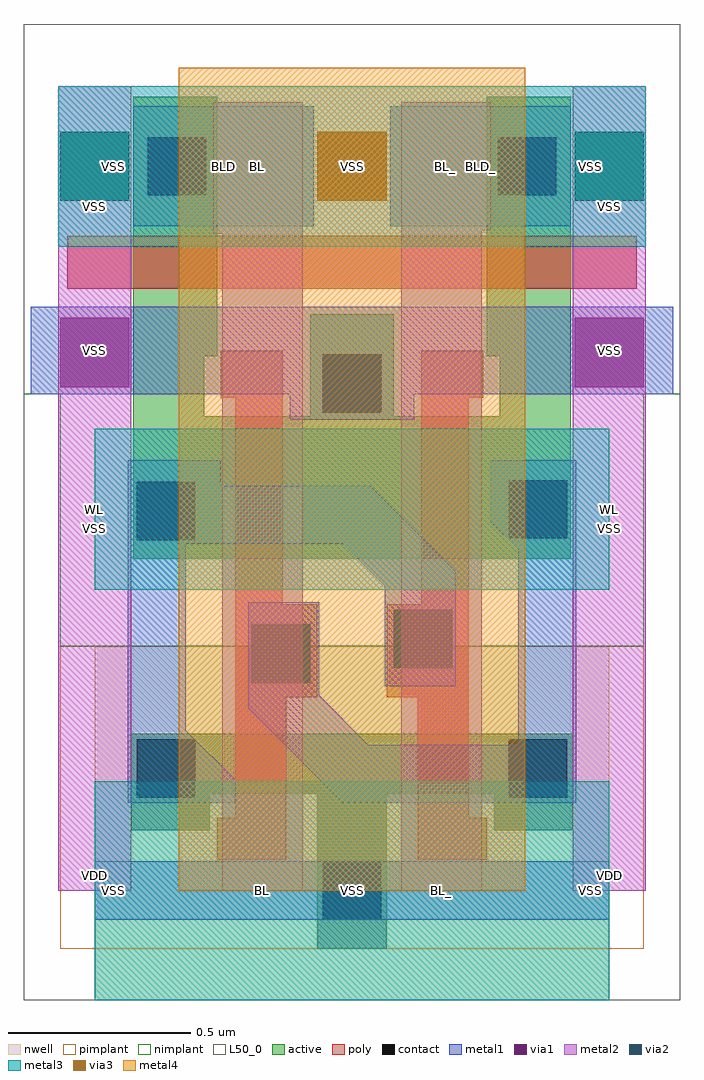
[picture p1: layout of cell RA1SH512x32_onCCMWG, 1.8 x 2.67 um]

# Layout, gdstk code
import gdstk
lib = gdstk.Library(unit=1e-6, precision=1e-09)
def R(c, l, rs):  # rectangles x0, y0, x1, y1
    for r in rs: c.add(gdstk.rectangle(r[:2], r[2:], *l))
def P(c, l, *ps):  # polygons
    for p in ps: c.add(gdstk.Polygon(p, *l))
nwell = (3, 0)
active = (6, 0)
poly = (17, 0)
pimplant = (25, 0)
nimplant = (26, 0)
contact = (30, 0)
metal1 = (31, 0)
metal2 = (32, 0)
metal3 = (33, 0)
metal4 = (34, 0)
L50_0 = (50, 0)
via1 = (51, 0)
via2 = (52, 0)
via3 = (53, 0)

ra1sh512x32_onccmwg = lib.new_cell('RA1SH512x32_onCCMWG')
R(ra1sh512x32_onccmwg, nwell, [(0,-0.3,1.41,0.67)])
P(ra1sh512x32_onccmwg, active, [(1.075,2.175),(1.075,1.465),(1.11,1.465),(1.11,1.3),(0.82,1.3),(0.82,1.58),(0.59,1.58),(0.59,1.3),(0.3,1.3),(0.3,1.465),(0.335,1.465),(0.335,2.175),(0.105,2.175),(0.105,0.91),(1.305,0.91),(1.305,2.175)],
  [(0.1,0.43),(0.1,0.165),(0.315,0.165),(0.315,0.265),(0.61,0.265),(0.61,-0.16),(0.8,-0.16),(0.8,0.265),(1.095,0.265),(1.095,0.165),(1.31,0.165),(1.31,0.43)])
R(ra1sh512x32_onccmwg, poly, [(-0.075,1.65,1.485,1.795)])
P(ra1sh512x32_onccmwg, poly, [(0.895,1.48),(0.895,0.785),(0.8,0.785),(0.8,0.53),(0.885,0.53),(0.885,0.085),(1.075,0.085),(1.075,0.2),(1.025,0.2),(1.025,1.35),(1.065,1.35),(1.065,1.48)],
  [(0.345,1.48),(0.345,1.35),(0.385,1.35),(0.385,0.2),(0.335,0.2),(0.335,0.085),(0.525,0.085),(0.525,0.53),(0.61,0.53),(0.61,0.785),(0.515,0.785),(0.515,1.48)])
R(ra1sh512x32_onccmwg, pimplant, [(-0.095,-0.16,1.505,0.67)])
P(ra1sh512x32_onccmwg, nimplant, [(-0.195,2.375),(-0.195,1.36),(-0.095,1.36),(-0.095,0.67),(1.505,0.67),(1.505,1.36),(1.605,1.36),(1.605,2.375)])
R(ra1sh512x32_onccmwg, contact, [(0.625,-0.08,0.785,0.08), (0.115,0.255,0.275,0.415), (1.135,0.255,1.295,0.415), (0.43,0.57,0.59,0.73), (0.82,0.61,0.98,0.77), (0.115,0.96,0.275,1.12), (1.135,0.965,1.295,1.125), (0.625,1.31,0.785,1.47), (0.145,1.905,0.305,2.065), (1.105,1.905,1.265,2.065)])
R(ra1sh512x32_onccmwg, metal1, [(0,-0.08,1.41,0.08), (0.105,1.82,0.6,2.15), (0.81,1.82,1.305,2.15)])
P(ra1sh512x32_onccmwg, metal1, [(-0.175,1.6),(-0.175,1.36),(0.535,1.36),(0.535,1.29),(0.875,1.29),(0.875,1.36),(1.585,1.36),(1.585,1.6)],
  [(1.085,1.18),(1.085,1.01),(1.16,0.935),(1.16,0.4),(0.75,0.4),(0.615,0.535),(0.615,0.79),(0.42,0.79),(0.42,0.5),(0.68,0.24),(1.32,0.24),(1.32,1.18)],
  [(0.09,1.18),(0.09,0.24),(0.385,0.24),(0.385,0.305),(0.25,0.44),(0.25,0.95),(0.68,0.95),(0.795,0.835),(0.795,0.56),(0.99,0.56),(0.99,0.875),(0.755,1.11),(0.345,1.11),(0.345,1.18)])
R(ra1sh512x32_onccmwg, metal2, [(-0.1,0,0.1,2.205), (1.31,0,1.51,2.205)])
P(ra1sh512x32_onccmwg, metal2, [(0.84,2.16),(0.84,0),(1.06,0),(1.06,1.81),(1.085,1.81),(1.085,2.16)],
  [(0.325,2.16),(0.325,1.8),(0.35,1.8),(0.35,0),(0.57,0),(0.57,2.16)])
R(ra1sh512x32_onccmwg, metal3, [(0,-0.3,1.41,0.3), (0,0.825,1.41,1.265), (-0.1,1.765,1.51,2.205)])
R(ra1sh512x32_onccmwg, metal4, [(0.23,0,1.18,2.255)])
R(ra1sh512x32_onccmwg, L50_0, [(-0.195,-0.3,1.605,2.375)])
R(ra1sh512x32_onccmwg, via1, [(-0.095,1.38,0.095,1.57), (1.315,1.38,1.505,1.57)])
R(ra1sh512x32_onccmwg, via2, [(-0.095,1.89,0.095,2.08), (1.315,1.89,1.505,2.08)])
R(ra1sh512x32_onccmwg, via3, [(0.61,1.89,0.8,2.08)])
ra1sh512x32_onccmwg.add(gdstk.Label('WL', (0,1.045), layer=133, texttype=0))
ra1sh512x32_onccmwg.add(gdstk.Label('VSS', (0,1.875), layer=133, texttype=0))
ra1sh512x32_onccmwg.add(gdstk.Label('VSS', (0,0.992), layer=132, texttype=0))
ra1sh512x32_onccmwg.add(gdstk.Label('VSS', (0,1.48), layer=131, texttype=0))
ra1sh512x32_onccmwg.add(gdstk.Label('VDD', (0,0.04), layer=131, texttype=0))
ra1sh512x32_onccmwg.add(gdstk.Label('WL', (1.41,1.045), layer=133, texttype=0))
ra1sh512x32_onccmwg.add(gdstk.Label('VSS', (1.41,1.875), layer=133, texttype=0))
ra1sh512x32_onccmwg.add(gdstk.Label('VSS', (1.41,0.992), layer=132, texttype=0))
ra1sh512x32_onccmwg.add(gdstk.Label('VSS', (1.41,1.48), layer=131, texttype=0))
ra1sh512x32_onccmwg.add(gdstk.Label('VDD', (1.41,0.04), layer=131, texttype=0))
ra1sh512x32_onccmwg.add(gdstk.Label('BL_', (0.95,0), layer=132, texttype=0))
ra1sh512x32_onccmwg.add(gdstk.Label('BL', (0.46,0), layer=132, texttype=0))
ra1sh512x32_onccmwg.add(gdstk.Label('VSS', (0.705,0), layer=134, texttype=0))
ra1sh512x32_onccmwg.add(gdstk.Label('VSS', (1.36,0), layer=132, texttype=0))
ra1sh512x32_onccmwg.add(gdstk.Label('VSS', (0.05,0), layer=132, texttype=0))
ra1sh512x32_onccmwg.add(gdstk.Label('VDD', (0.705,0), layer=131, texttype=0))
ra1sh512x32_onccmwg.add(gdstk.Label('BLD_', (1.057,1.985), layer=131, texttype=0))
ra1sh512x32_onccmwg.add(gdstk.Label('BLD', (0.352,1.985), layer=131, texttype=0))
ra1sh512x32_onccmwg.add(gdstk.Label('BL_', (0.962,1.985), layer=132, texttype=0))
ra1sh512x32_onccmwg.add(gdstk.Label('BL', (0.447,1.985), layer=132, texttype=0))
ra1sh512x32_onccmwg.add(gdstk.Label('VSS', (0.705,1.985), layer=134, texttype=0))
ra1sh512x32_onccmwg.add(gdstk.Label('VSS', (0.705,1.985), layer=133, texttype=0))
ra1sh512x32_onccmwg.add(gdstk.Label('VSS', (1.36,1.985), layer=132, texttype=0))
ra1sh512x32_onccmwg.add(gdstk.Label('VSS', (0.05,1.985), layer=132, texttype=0))

lib.write_gds('RA1SH512x32_onCCMWG.gds')
